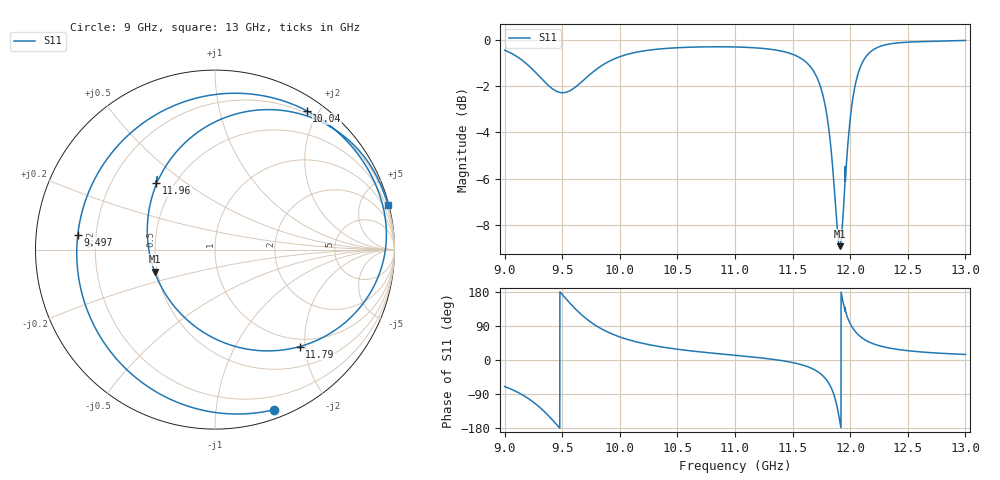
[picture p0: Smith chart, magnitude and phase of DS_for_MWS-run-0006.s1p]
! TOUCHSTONE file generated by CST DESIGN STUDIO
! Date and time: Tue Feb  4 13:53:37 2025
! Project name: C:\Work\MatlabApps\UnitCellOptimizationMatlab\CST\unitcell.cst
! Tree item: Tasks\Sweep1\SPara1\S-Parameters
! Header version: 2024
! Port assignment regex: !\s*Touchstone port\s*([0-9]+)\s*=\s*(CST MWS port|CST DES external port|CST DES block port)\s*(.+)\s* \(\"(.*)\"\)(\s*mode\s*([0-9]+))?.*
! Touchstone port assignment:
! Touchstone port 1 = CST DES external port 1 ("")
# GHz S MA R 50
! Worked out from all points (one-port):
!   4001 points, 9 GHz to 13 GHz, reference 50 ohm
!   lowest |S11| = -8.9 dB at 11.91 GHz (marker M1), VSWR 2.12, Z = 24.2 - j6.78 ohm
!   |S11| at or under -10 dB: nowhere
!   S11 on the Smith chart (normalised r, x): 9 GHz: 0.08, -1.43; 9.497 GHz: 0.13, +0.05; 10.04 GHz: 0.17, +1.85; 11.79 GHz: 0.85, -1.89; 11.96 GHz: 0.40, +0.39; 13 GHz: 0.08, +7.81
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9  0.9504 -69.9
9.151  0.9044 -91.4
9.266  0.8523 -115.0
9.397  0.7906 -152.1
9.497  0.7691 173.9
9.5  0.769 172.8
9.614  0.7906 135.0
9.717  0.8321 107.0
9.835  0.8775 83.2
10  0.9199 60.8
10.042  0.9273 56.5
10.24  0.9495 41.3
10.5  0.962 28.4
11  0.9656 12.4
11.5  0.9311 -6.7
11.677  0.86 -23.7
11.785  0.7168 -48.9
11.853  0.5112 -86.6
11.88  0.4126 -115.0
11.909  0.3584 -160.1
11.958  0.4947 131.7
12  0.6748 96.0
12.036  0.7817 78.3
12.082  0.8657 63.3
12.172  0.9406 46.3
12.301  0.9753 34.0
12.5  0.989 24.6
13  0.9974 14.6
